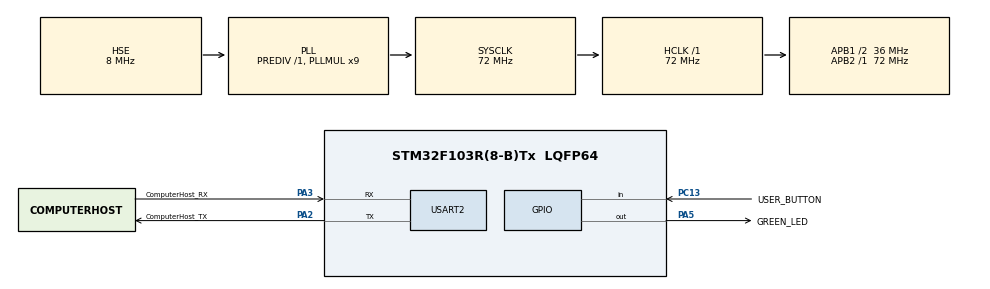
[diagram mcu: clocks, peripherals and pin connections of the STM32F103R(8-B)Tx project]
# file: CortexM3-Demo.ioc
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IWDG.Prescaler=IWDG_PRESCALER_32
Mcu.Family=STM32F1
Mcu.Name=STM32F103R(8-B)Tx
Mcu.Package=LQFP64
NVIC.PriorityGroup=NVIC_PRIORITYGROUP_4
NVIC.TIM4_IRQn=true\:0\:0\:false\:false\:true\:true\:true
NVIC.USART2_IRQn=true\:0\:0\:false\:false\:true\:true\:true
PA13.GPIO_Label=TMS
PA13.Mode=Serial_Wire
PA13.Signal=SYS_JTMS-SWDIO
PA14.GPIO_Label=TCK
PA14.Mode=Serial_Wire
PA14.Signal=SYS_JTCK-SWCLK
PA2.GPIO_Label=ComputerHost_TX
PA2.GPIO_Mode=GPIO_MODE_AF_PP
PA2.GPIO_PuPd=GPIO_NOPULL
PA2.GPIO_Speed=GPIO_SPEED_FREQ_LOW
PA2.Mode=Asynchronous
PA2.Signal=USART2_TX
PA3.GPIO_Label=ComputerHost_RX
PA3.GPIO_Mode=GPIO_MODE_AF_PP
PA3.GPIO_PuPd=GPIO_NOPULL
PA3.GPIO_Speed=GPIO_SPEED_FREQ_LOW
PA3.Mode=Asynchronous
PA3.Signal=USART2_RX
PA5.GPIO_Label=GREEN_LED
PA5.GPIO_ModeDefaultOutputPP=GPIO_MODE_OUTPUT_PP
PA5.GPIO_PuPd=GPIO_NOPULL
PA5.GPIO_Speed=GPIO_SPEED_FREQ_LOW
PA5.Signal=GPIO_Output
PB3.GPIO_Label=SWO
PB3.Signal=SYS_JTDO-TRACESWO
PC13-TAMPER-RTC.GPIO_Label=USER_BUTTON
PC13-TAMPER-RTC.GPIO_PuPd=GPIO_NOPULL
PC13-TAMPER-RTC.Signal=GPIO_Input
PC14-OSC32_IN.Mode=LSE-External-Oscillator
PC14-OSC32_IN.Signal=RCC_OSC32_IN
PC15-OSC32_OUT.Mode=LSE-External-Oscillator
PC15-OSC32_OUT.Signal=RCC_OSC32_OUT
PD0-OSC_IN.Mode=HSE-External-Clock-Source
PD0-OSC_IN.Signal=RCC_OSC_IN
PD1-OSC_OUT.Mode=HSE-External-Clock-Source
PD1-OSC_OUT.Signal=RCC_OSC_OUT
ProjectManager.HeapSize=0x200
ProjectManager.StackSize=0x400
ProjectManager.TargetToolchain=MDK-ARM V5
RCC.AHBFreq_Value=72000000
RCC.APB1CLKDivider=RCC_HCLK_DIV2
RCC.APB1Freq_Value=36000000
RCC.APB1TimFreq_Value=72000000
RCC.APB2Freq_Value=72000000
RCC.APB2TimFreq_Value=72000000
RCC.HCLKFreq_Value=72000000
RCC.PLLMUL=RCC_PLL_MUL9
RCC.PLLSourceVirtual=RCC_PLLSOURCE_HSE
RCC.RTCClockSelection=RCC_RTCCLKSOURCE_LSE
RCC.SYSCLKFreq_VALUE=72000000
RCC.SYSCLKSource=RCC_SYSCLKSOURCE_PLLCLK
RCC.USBFreq_Value=72000000
TIM4.Period=703
TIM4.Prescaler=1024
USART2.VirtualMode=VM_ASYNC
VP_IWDG_VS_IWDG.Mode=IWDG_Activate
VP_TIM4_VS_ClockSourceINT.Mode=Internal
board=NUCLEO-F103RB

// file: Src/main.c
/* USER CODE BEGIN Header */
/**
  ******************************************************************************
  * @file           : main.c
  * @brief          : Main program body
	* @author         : Chan Tai Wing Vincent
	* @content        : M3 Demo - Timer Interrupt
	* @version        : Tutorial 4
  ******************************************************************************
  * @attention
  * This program is written for STM32F103RB Nucleo Board. This program is to
  * demonstrate how to use timer interrupt to perform delay.
  *
  *
  ******************************************************************************
  */
/* USER CODE END Header */

#include "main.h"

/* USER CODE BEGIN PD */
#define USART_BUFFER_SIZE 3
#define TRUE 1
#define FALSE 0
/* USER CODE END PD */

IWDG_HandleTypeDef hiwdg;

TIM_HandleTypeDef htim4;

UART_HandleTypeDef huart2;

/* USER CODE BEGIN PV */
int LED_ON = FALSE;
int ONE_SECOND_FLAG = TRUE;
unsigned char USART_RX_BUFFER[USART_BUFFER_SIZE];
unsigned char SYSTEM_START[] = "WELCEOM TO STM32F103RBT6 !\r\n";
unsigned char SYSTEM_WATCHDOG_RESET[] = "IWDG reset failed !\r\n";
unsigned char SYSTEM_TIMER_IT[] = "ONE second passed !\r\n";
int TIMER_COUNTER = 0;

/* USER CODE END PV */

void SystemClock_Config(void);
static void MX_GPIO_Init(void);
static void MX_USART2_UART_Init(void);
static void MX_IWDG_Init(void);
static void MX_TIM4_Init(void);

int main(void)
{

  /* MCU Configuration--------------------------------------------------------*/

  /* Reset of all peripherals, Initializes the Flash interface and the Systick. */
  HAL_Init();

  /* Configure the system clock */
  SystemClock_Config();

  /* Initialize all configured peripherals */
  MX_GPIO_Init();
  MX_USART2_UART_Init();
  MX_IWDG_Init();
  MX_TIM4_Init();
  /* USER CODE BEGIN 2 */
  HAL_UART_Transmit(&huart2,SYSTEM_START,sizeof(SYSTEM_START)-1,300); //Ask USART2 to send message and timeout = 300ms
  HAL_TIM_Base_Start_IT(&htim4);   //Enable Timer4 Interrupt
	HAL_UART_Receive_IT(&huart2,USART_RX_BUFFER,sizeof(USART_RX_BUFFER)); //Indicate USART2 to have RX interrupt
  /* USER CODE END 2 */

  /* Infinite loop */
  /* USER CODE BEGIN WHILE */
  while (1)
  {

		if(LED_ON == TRUE)       //Check whether "LED" is received
		{
			HAL_GPIO_WritePin(GREEN_LED_GPIO_Port,GREEN_LED_Pin,GPIO_PIN_SET);                //LED ON
		}else{
			     HAL_GPIO_WritePin(GREEN_LED_GPIO_Port,GREEN_LED_Pin,GPIO_PIN_RESET);         //LED OFF
		     }
    if(HAL_GPIO_ReadPin(USER_BUTTON_GPIO_Port,USER_BUTTON_Pin) == GPIO_PIN_RESET)       //BUTTON pressed then fall into deadloop
		{
			HAL_UART_Transmit(&huart2,SYSTEM_WATCHDOG_RESET,sizeof(SYSTEM_WATCHDOG_RESET)-1,300);
			while(1);  //Deadloop
		}
		if(ONE_SECOND_FLAG == TRUE)
		{
			HAL_UART_Transmit(&huart2,SYSTEM_TIMER_IT,sizeof(SYSTEM_TIMER_IT)-1,300);            //SEND message every 1s
			ONE_SECOND_FLAG = FALSE;
		}
		HAL_IWDG_Refresh(&hiwdg);   //WATCHDOG Reset [within 3.2s]

    /* USER CODE END WHILE */

  }
}

void SystemClock_Config(void)
{
  RCC_OscInitTypeDef RCC_OscInitStruct = {0};
  RCC_ClkInitTypeDef RCC_ClkInitStruct = {0};

  /** Initializes the CPU, AHB and APB busses clocks
  */
  RCC_OscInitStruct.OscillatorType = RCC_OSCILLATORTYPE_LSI|RCC_OSCILLATORTYPE_HSE;
  RCC_OscInitStruct.HSEState = RCC_HSE_BYPASS;
  RCC_OscInitStruct.HSEPredivValue = RCC_HSE_PREDIV_DIV1;
  RCC_OscInitStruct.HSIState = RCC_HSI_ON;
  RCC_OscInitStruct.LSIState = RCC_LSI_ON;
  RCC_OscInitStruct.PLL.PLLState = RCC_PLL_ON;
  RCC_OscInitStruct.PLL.PLLSource = RCC_PLLSOURCE_HSE;
  RCC_OscInitStruct.PLL.PLLMUL = RCC_PLL_MUL9;
  if (HAL_RCC_OscConfig(&RCC_OscInitStruct) != HAL_OK)
  {
    Error_Handler();
  }
  /** Initializes the CPU, AHB and APB busses clocks
  */
  RCC_ClkInitStruct.ClockType = RCC_CLOCKTYPE_HCLK|RCC_CLOCKTYPE_SYSCLK
                              |RCC_CLOCKTYPE_PCLK1|RCC_CLOCKTYPE_PCLK2;
  RCC_ClkInitStruct.SYSCLKSource = RCC_SYSCLKSOURCE_PLLCLK;
  RCC_ClkInitStruct.AHBCLKDivider = RCC_SYSCLK_DIV1;
  RCC_ClkInitStruct.APB1CLKDivider = RCC_HCLK_DIV2;
  RCC_ClkInitStruct.APB2CLKDivider = RCC_HCLK_DIV1;

  if (HAL_RCC_ClockConfig(&RCC_ClkInitStruct, FLASH_LATENCY_2) != HAL_OK)
  {
    Error_Handler();
  }
}

static void MX_IWDG_Init(void)
{

  hiwdg.Instance = IWDG;
  hiwdg.Init.Prescaler = IWDG_PRESCALER_32;
  hiwdg.Init.Reload = 4095;
  if (HAL_IWDG_Init(&hiwdg) != HAL_OK)
  {
    Error_Handler();
  }

}

static void MX_TIM4_Init(void)
{

  TIM_ClockConfigTypeDef sClockSourceConfig = {0};
  TIM_MasterConfigTypeDef sMasterConfig = {0};

  htim4.Instance = TIM4;
  htim4.Init.Prescaler = 1024;
  htim4.Init.CounterMode = TIM_COUNTERMODE_UP;
  htim4.Init.Period = 703;
  htim4.Init.ClockDivision = TIM_CLOCKDIVISION_DIV1;
  htim4.Init.AutoReloadPreload = TIM_AUTORELOAD_PRELOAD_DISABLE;
  if (HAL_TIM_Base_Init(&htim4) != HAL_OK)
  {
    Error_Handler();
  }
  sClockSourceConfig.ClockSource = TIM_CLOCKSOURCE_INTERNAL;
  if (HAL_TIM_ConfigClockSource(&htim4, &sClockSourceConfig) != HAL_OK)
  {
    Error_Handler();
  }
  sMasterConfig.MasterOutputTrigger = TIM_TRGO_RESET;
  sMasterConfig.MasterSlaveMode = TIM_MASTERSLAVEMODE_DISABLE;
  if (HAL_TIMEx_MasterConfigSynchronization(&htim4, &sMasterConfig) != HAL_OK)
  {
    Error_Handler();
  }

}

static void MX_USART2_UART_Init(void)
{

  huart2.Instance = USART2;
  huart2.Init.BaudRate = 115200;
  huart2.Init.WordLength = UART_WORDLENGTH_8B;
  huart2.Init.StopBits = UART_STOPBITS_1;
  huart2.Init.Parity = UART_PARITY_NONE;
  huart2.Init.Mode = UART_MODE_TX_RX;
  huart2.Init.HwFlowCtl = UART_HWCONTROL_NONE;
  huart2.Init.OverSampling = UART_OVERSAMPLING_16;
  if (HAL_UART_Init(&huart2) != HAL_OK)
  {
    Error_Handler();
  }

}

static void MX_GPIO_Init(void)
{
  GPIO_InitTypeDef GPIO_InitStruct = {0};

  /* GPIO Ports Clock Enable */
  __HAL_RCC_GPIOC_CLK_ENABLE();
  __HAL_RCC_GPIOD_CLK_ENABLE();
  __HAL_RCC_GPIOA_CLK_ENABLE();
  __HAL_RCC_GPIOB_CLK_ENABLE();

  /*Configure GPIO pin Output Level */
  HAL_GPIO_WritePin(GREEN_LED_GPIO_Port, GREEN_LED_Pin, GPIO_PIN_RESET);

  /*Configure GPIO pin : USER_BUTTON_Pin */
  GPIO_InitStruct.Pin = USER_BUTTON_Pin;
  GPIO_InitStruct.Mode = GPIO_MODE_INPUT;
  GPIO_InitStruct.Pull = GPIO_NOPULL;
  HAL_GPIO_Init(USER_BUTTON_GPIO_Port, &GPIO_InitStruct);

  /*Configure GPIO pin : GREEN_LED_Pin */
  GPIO_InitStruct.Pin = GREEN_LED_Pin;
  GPIO_InitStruct.Mode = GPIO_MODE_OUTPUT_PP;
  GPIO_InitStruct.Pull = GPIO_NOPULL;
  GPIO_InitStruct.Speed = GPIO_SPEED_FREQ_LOW;
  HAL_GPIO_Init(GREEN_LED_GPIO_Port, &GPIO_InitStruct);

}

/* USER CODE BEGIN 4 */
void HAL_UART_RxCpltCallback(UART_HandleTypeDef *huart)  //USART Receive Interrupt
{
  UNUSED(huart);
	if (huart == &huart2)  //Decide what should USART2 do when message is received
	{
		if((USART_RX_BUFFER[0] == 'L')&&(USART_RX_BUFFER[1] == 'E')&&(USART_RX_BUFFER[2] == 'D'))  //Must receive "LED" to change the state of LED
		{
			if(LED_ON == TRUE)
			{
				LED_ON = FALSE;
			}else{
				     LED_ON = TRUE;
			     }
    }
    HAL_UART_Receive_IT(&huart2,USART_RX_BUFFER,sizeof(USART_RX_BUFFER)); //Indicate USART2 to have RX interrupt
	}
}

void HAL_TIM_PeriodElapsedCallback(TIM_HandleTypeDef *htim)
{
	if(htim == &htim4)
	{
	  TIMER_COUNTER++;               //  Interval = 0.01 second
		if ((TIMER_COUNTER%100) == 0)  //  Every 1 second
	  {
		  ONE_SECOND_FLAG = TRUE;
	  }
	}
}

/* USER CODE END 4 */

void Error_Handler(void)
{
}

/************************ (C) COPYRIGHT STMicroelectronics *****END OF FILE****/
